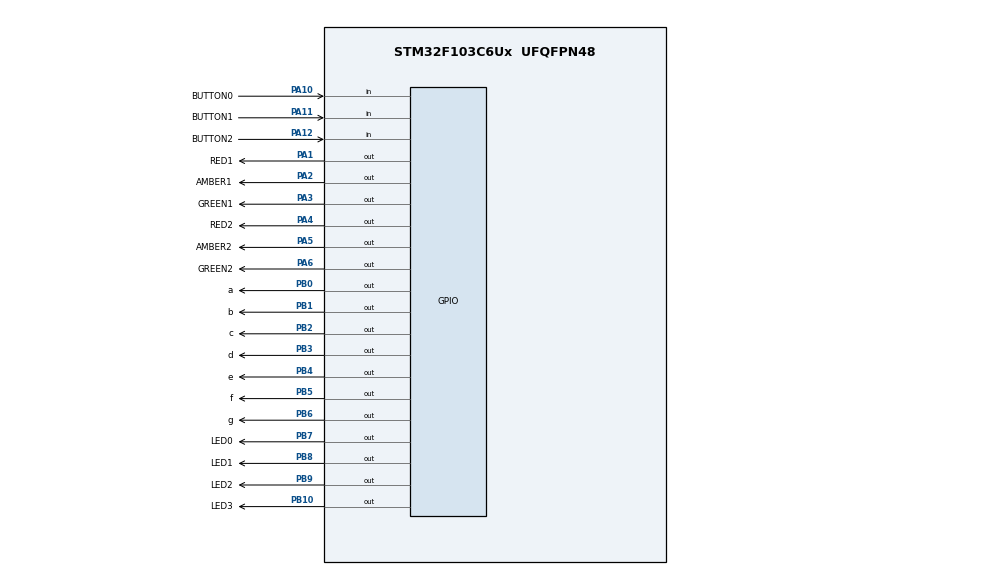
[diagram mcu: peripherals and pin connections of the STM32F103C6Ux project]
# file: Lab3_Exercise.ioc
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Mcu.Family=STM32F1
Mcu.Name=STM32F103C6Ux
Mcu.Package=UFQFPN48
NVIC.PriorityGroup=NVIC_PRIORITYGROUP_4
NVIC.TIM2_IRQn=true\:0\:0\:false\:false\:true\:true\:true\:true
PA1.GPIO_Label=RED1
PA1.Signal=GPIO_Output
PA10.GPIO_Label=BUTTON0
PA10.GPIO_PuPd=GPIO_PULLUP
PA10.Signal=GPIO_Input
PA11.GPIO_Label=BUTTON1
PA11.GPIO_PuPd=GPIO_PULLUP
PA11.Signal=GPIO_Input
PA12.GPIO_Label=BUTTON2
PA12.GPIO_PuPd=GPIO_PULLUP
PA12.Signal=GPIO_Input
PA13.Mode=Serial_Wire
PA13.Signal=SYS_JTMS-SWDIO
PA14.Mode=Serial_Wire
PA14.Signal=SYS_JTCK-SWCLK
PA2.GPIO_Label=AMBER1
PA2.Signal=GPIO_Output
PA3.GPIO_Label=GREEN1
PA3.Signal=GPIO_Output
PA4.GPIO_Label=RED2
PA4.Signal=GPIO_Output
PA5.GPIO_Label=AMBER2
PA5.Signal=GPIO_Output
PA6.GPIO_Label=GREEN2
PA6.Signal=GPIO_Output
PB0.GPIO_Label=a
PB0.Signal=GPIO_Output
PB1.GPIO_Label=b
PB1.Signal=GPIO_Output
PB10.GPIO_Label=LED3
PB10.Signal=GPIO_Output
PB2.GPIO_Label=c
PB2.Signal=GPIO_Output
PB3.GPIO_Label=d
PB3.Signal=GPIO_Output
PB4.GPIO_Label=e
PB4.Signal=GPIO_Output
PB5.GPIO_Label=f
PB5.Signal=GPIO_Output
PB6.GPIO_Label=g
PB6.Signal=GPIO_Output
PB7.GPIO_Label=LED0
PB7.Signal=GPIO_Output
PB8.GPIO_Label=LED1
PB8.Signal=GPIO_Output
PB9.GPIO_Label=LED2
PB9.Signal=GPIO_Output
ProjectManager.HeapSize=0x200
ProjectManager.StackSize=0x400
ProjectManager.TargetToolchain=STM32CubeIDE
RCC.APB1Freq_Value=8000000
RCC.APB2Freq_Value=8000000
TIM2.Period=9
TIM2.Prescaler=7999
VP_TIM2_VS_ClockSourceINT.Mode=Internal
board=custom

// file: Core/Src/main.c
/* USER CODE BEGIN Header */
/**
  ******************************************************************************
  * @file           : main.c
  * @brief          : Main program body
  ******************************************************************************
  * @attention
  *
  * Copyright (c) 2023 STMicroelectronics.
  * All rights reserved.
  *
  * This software is licensed under terms that can be found in the LICENSE file
  * in the root directory of this software component.
  * If no LICENSE file comes with this software, it is provided AS-IS.
  *
  ******************************************************************************
  */
/* USER CODE END Header */
#include "main.h"

/* USER CODE BEGIN Includes */
#include "timer.h"
#include "fsm_automatic.h"
#include "fsm_manual.h"
#include "segment_display.h"
/* USER CODE END Includes */

TIM_HandleTypeDef htim2;

void SystemClock_Config(void);
static void MX_GPIO_Init(void);
static void MX_TIM2_Init(void);

int main(void)
{
  /* USER CODE BEGIN 1 */
	// Preset time display for each color RED = 5 seconds, AMBER = 2 seconds, GREEN = 3 seconds
	time_display[RED] = 5000;
	time_display[AMBER] = 2000;
	time_display[GREEN] = 3000;

	// Set initial status for led on each road
	status[SINGLE_LED1] = AUTO_RED;
	setTimer(time_display[RED], SINGLE_LED1);
	status[SINGLE_LED2] = AUTO_GREEN;
	setTimer(time_display[GREEN], SINGLE_LED2);

	// Set timer for scanning process
	setTimer(DURATION_FOR_SCAN, ANODE7SEG_LED);
  /* USER CODE END 1 */

  /* MCU Configuration--------------------------------------------------------*/

  /* Reset of all peripherals, Initializes the Flash interface and the Systick. */
  HAL_Init();

  /* Configure the system clock */
  SystemClock_Config();

  /* Initialize all configured peripherals */
  MX_GPIO_Init();
  MX_TIM2_Init();
  /* USER CODE BEGIN 2 */
  HAL_TIM_Base_Start_IT(&htim2);
  /* USER CODE END 2 */

  /* Infinite loop */
  /* USER CODE BEGIN WHILE */
  while (1)
  {
	  fsm_automatic_run(SINGLE_LED1);
	  fsm_automatic_run(SINGLE_LED2);
	  fsm_manual_run();
	  displayNum();
    /* USER CODE END WHILE */

  }
}

void SystemClock_Config(void)
{
  RCC_OscInitTypeDef RCC_OscInitStruct = {0};
  RCC_ClkInitTypeDef RCC_ClkInitStruct = {0};

  /** Initializes the RCC Oscillators according to the specified parameters
  * in the RCC_OscInitTypeDef structure.
  */
  RCC_OscInitStruct.OscillatorType = RCC_OSCILLATORTYPE_HSI;
  RCC_OscInitStruct.HSIState = RCC_HSI_ON;
  RCC_OscInitStruct.HSICalibrationValue = RCC_HSICALIBRATION_DEFAULT;
  RCC_OscInitStruct.PLL.PLLState = RCC_PLL_NONE;
  if (HAL_RCC_OscConfig(&RCC_OscInitStruct) != HAL_OK)
  {
    Error_Handler();
  }

  /** Initializes the CPU, AHB and APB buses clocks
  */
  RCC_ClkInitStruct.ClockType = RCC_CLOCKTYPE_HCLK|RCC_CLOCKTYPE_SYSCLK
                              |RCC_CLOCKTYPE_PCLK1|RCC_CLOCKTYPE_PCLK2;
  RCC_ClkInitStruct.SYSCLKSource = RCC_SYSCLKSOURCE_HSI;
  RCC_ClkInitStruct.AHBCLKDivider = RCC_SYSCLK_DIV1;
  RCC_ClkInitStruct.APB1CLKDivider = RCC_HCLK_DIV1;
  RCC_ClkInitStruct.APB2CLKDivider = RCC_HCLK_DIV1;

  if (HAL_RCC_ClockConfig(&RCC_ClkInitStruct, FLASH_LATENCY_0) != HAL_OK)
  {
    Error_Handler();
  }
}

static void MX_TIM2_Init(void)
{

  TIM_ClockConfigTypeDef sClockSourceConfig = {0};
  TIM_MasterConfigTypeDef sMasterConfig = {0};

  htim2.Instance = TIM2;
  htim2.Init.Prescaler = 7999;
  htim2.Init.CounterMode = TIM_COUNTERMODE_UP;
  htim2.Init.Period = 9;
  htim2.Init.ClockDivision = TIM_CLOCKDIVISION_DIV1;
  htim2.Init.AutoReloadPreload = TIM_AUTORELOAD_PRELOAD_DISABLE;
  if (HAL_TIM_Base_Init(&htim2) != HAL_OK)
  {
    Error_Handler();
  }
  sClockSourceConfig.ClockSource = TIM_CLOCKSOURCE_INTERNAL;
  if (HAL_TIM_ConfigClockSource(&htim2, &sClockSourceConfig) != HAL_OK)
  {
    Error_Handler();
  }
  sMasterConfig.MasterOutputTrigger = TIM_TRGO_RESET;
  sMasterConfig.MasterSlaveMode = TIM_MASTERSLAVEMODE_DISABLE;
  if (HAL_TIMEx_MasterConfigSynchronization(&htim2, &sMasterConfig) != HAL_OK)
  {
    Error_Handler();
  }

}

static void MX_GPIO_Init(void)
{
  GPIO_InitTypeDef GPIO_InitStruct = {0};

  /* GPIO Ports Clock Enable */
  __HAL_RCC_GPIOA_CLK_ENABLE();
  __HAL_RCC_GPIOB_CLK_ENABLE();

  /*Configure GPIO pin Output Level */
  HAL_GPIO_WritePin(GPIOA, RED1_Pin|AMBER1_Pin|GREEN1_Pin|RED2_Pin
                          |AMBER2_Pin|GREEN2_Pin, GPIO_PIN_RESET);

  /*Configure GPIO pin Output Level */
  HAL_GPIO_WritePin(GPIOB, a_Pin|b_Pin|c_Pin|LED3_Pin
                          |d_Pin|e_Pin|f_Pin|g_Pin
                          |LED0_Pin|LED1_Pin|LED2_Pin, GPIO_PIN_RESET);

  /*Configure GPIO pins : RED1_Pin AMBER1_Pin GREEN1_Pin RED2_Pin
                           AMBER2_Pin GREEN2_Pin */
  GPIO_InitStruct.Pin = RED1_Pin|AMBER1_Pin|GREEN1_Pin|RED2_Pin
                          |AMBER2_Pin|GREEN2_Pin;
  GPIO_InitStruct.Mode = GPIO_MODE_OUTPUT_PP;
  GPIO_InitStruct.Pull = GPIO_NOPULL;
  GPIO_InitStruct.Speed = GPIO_SPEED_FREQ_LOW;
  HAL_GPIO_Init(GPIOA, &GPIO_InitStruct);

  /*Configure GPIO pins : a_Pin b_Pin c_Pin LED3_Pin
                           d_Pin e_Pin f_Pin g_Pin
                           LED0_Pin LED1_Pin LED2_Pin */
  GPIO_InitStruct.Pin = a_Pin|b_Pin|c_Pin|LED3_Pin
                          |d_Pin|e_Pin|f_Pin|g_Pin
                          |LED0_Pin|LED1_Pin|LED2_Pin;
  GPIO_InitStruct.Mode = GPIO_MODE_OUTPUT_PP;
  GPIO_InitStruct.Pull = GPIO_NOPULL;
  GPIO_InitStruct.Speed = GPIO_SPEED_FREQ_LOW;
  HAL_GPIO_Init(GPIOB, &GPIO_InitStruct);

  /*Configure GPIO pins : BUTTON0_Pin BUTTON1_Pin BUTTON2_Pin */
  GPIO_InitStruct.Pin = BUTTON0_Pin|BUTTON1_Pin|BUTTON2_Pin;
  GPIO_InitStruct.Mode = GPIO_MODE_INPUT;
  GPIO_InitStruct.Pull = GPIO_PULLUP;
  HAL_GPIO_Init(GPIOA, &GPIO_InitStruct);

}

void Error_Handler(void)
{
  __disable_irq();
  while (1)
  {
  }
}
